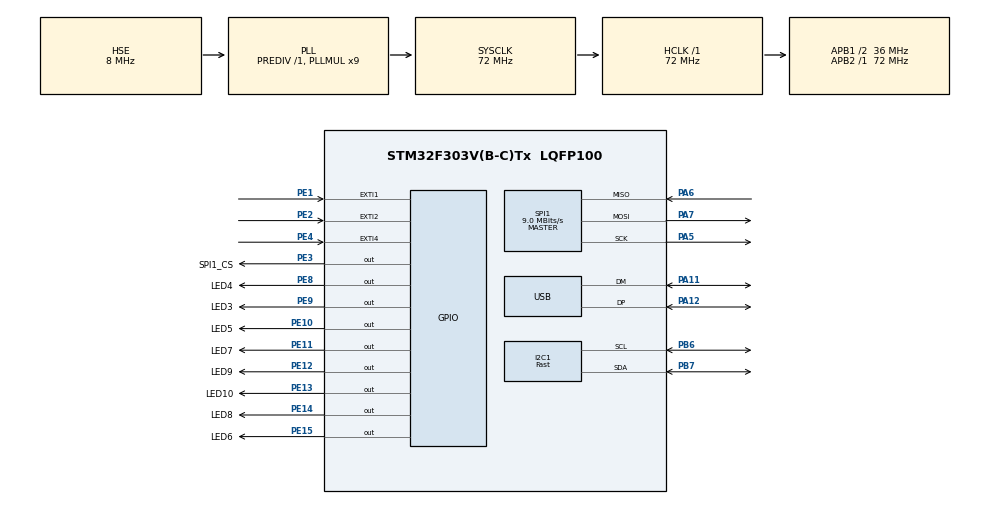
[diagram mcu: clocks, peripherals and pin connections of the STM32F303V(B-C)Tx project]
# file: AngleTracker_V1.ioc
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I2C1.I2C_Speed_Mode=I2C_Fast
I2C1.Timing=0x0000020B
Mcu.Family=STM32F3
Mcu.Name=STM32F303V(B-C)Tx
Mcu.Package=LQFP100
NVIC.EXTI1_IRQn=true\:0\:0\:false\:true\:true\:3\:true\:true
NVIC.EXTI2_TSC_IRQn=true\:0\:0\:false\:true\:true\:2\:true\:true
NVIC.EXTI4_IRQn=true\:0\:0\:false\:true\:true\:1\:true\:true
NVIC.PriorityGroup=NVIC_PRIORITYGROUP_4
NVIC.USB_LP_CAN_RX0_IRQn=true\:0\:0\:false\:false\:true\:false\:true
PA11.Mode=Device
PA11.Signal=USB_DM
PA12.Mode=Device
PA12.Signal=USB_DP
PA5.Mode=Full_Duplex_Master
PA5.Signal=SPI1_SCK
PA6.Mode=Full_Duplex_Master
PA6.Signal=SPI1_MISO
PA7.Mode=Full_Duplex_Master
PA7.Signal=SPI1_MOSI
PB6.Mode=I2C
PB6.Signal=I2C1_SCL
PB7.Mode=I2C
PB7.Signal=I2C1_SDA
PE1.Signal=GPXTI1
PE10.GPIO_Label=LED5
PE10.Signal=GPIO_Output
PE11.GPIO_Label=LED7
PE11.Signal=GPIO_Output
PE12.GPIO_Label=LED9
PE12.Signal=GPIO_Output
PE13.GPIO_Label=LED10
PE13.Signal=GPIO_Output
PE14.GPIO_Label=LED8
PE14.Signal=GPIO_Output
PE15.GPIO_Label=LED6
PE15.Signal=GPIO_Output
PE2.GPIO_PuPd=GPIO_PULLDOWN
PE2.Signal=GPXTI2
PE3.GPIO_Label=SPI1_CS
PE3.Signal=GPIO_Output
PE4.GPIO_PuPd=GPIO_PULLDOWN
PE4.Signal=GPXTI4
PE8.GPIO_Label=LED4
PE8.Signal=GPIO_Output
PE9.GPIO_Label=LED3
PE9.Signal=GPIO_Output
PF0-OSC_IN.Mode=HSE-External-Oscillator
PF0-OSC_IN.Signal=RCC_OSC_IN
PF1-OSC_OUT.Mode=HSE-External-Oscillator
PF1-OSC_OUT.Signal=RCC_OSC_OUT
ProjectManager.HeapSize=0x2000
ProjectManager.StackSize=0x4000
ProjectManager.TargetToolchain=STM32CubeIDE
RCC.AHBFreq_Value=72000000
RCC.APB1CLKDivider=RCC_HCLK_DIV2
RCC.APB1Freq_Value=36000000
RCC.APB1TimFreq_Value=72000000
RCC.APB2Freq_Value=72000000
RCC.APB2TimFreq_Value=72000000
RCC.CortexFreq_Value=72000000
RCC.HCLKFreq_Value=72000000
RCC.HSE_VALUE=8000000
RCC.HSI_VALUE=8000000
RCC.LSE_VALUE=32768
RCC.PLLMUL=RCC_PLL_MUL9
RCC.PRESCALERUSB=RCC_USBCLKSOURCE_PLL_DIV1_5
RCC.SYSCLKFreq_VALUE=72000000
RCC.SYSCLKSourceVirtual=RCC_SYSCLKSOURCE_PLLCLK
RCC.USBFreq_Value=48000000
SPI1.BaudRatePrescaler=SPI_BAUDRATEPRESCALER_8
SPI1.CalculateBaudRate=9.0 MBits/s
SPI1.DataSize=SPI_DATASIZE_8BIT
SPI1.Direction=SPI_DIRECTION_2LINES
SPI1.FirstBit=SPI_FIRSTBIT_LSB
SPI1.Mode=SPI_MODE_MASTER
SPI1.VirtualType=VM_MASTER
USB_DEVICE.CLASS_NAME_FS=CDC
USB_DEVICE.VirtualMode=Cdc
USB_DEVICE.VirtualModeFS=Cdc_FS
VP_USB_DEVICE_VS_USB_DEVICE_CDC_FS.Mode=CDC_FS
board=custom

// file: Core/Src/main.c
/* USER CODE BEGIN Header */
/**
  ******************************************************************************
  * @file           : main.c
  * @brief          : Main program body
  ******************************************************************************
  * @attention
  *
  * <h2><center>&copy; Copyright (c) 2020 STMicroelectronics.
  * All rights reserved.</center></h2>
  *
  * This software component is licensed by ST under BSD 3-Clause license,
  * the "License"; You may not use this file except in compliance with the
  * License. You may obtain a copy of the License at:
  *                        opensource.org/licenses/BSD-3-Clause
  *
  ******************************************************************************
  */
/* USER CODE END Header */
#include "main.h"
#include "i2c.h"
#include "spi.h"
#include "usb_device.h"
#include "gpio.h"

/* USER CODE BEGIN Includes */
#include "usbd_cdc_if.h"
#include "mems.h"
#include "stm32f3_discovery_gyroscope.h"
#include "math.h"
/* USER CODE END Includes */

/* USER CODE BEGIN PTD */
typedef enum state_t {ACCEL_DRDY_S, MAGNET_DRDY_S, GYRO_DRDY_S,
					  TRANSMIT_READY_S, IDLE_S, ERROR_S} state_t;
typedef enum sensor_t {ACCEL=0,
					   MAGN=1,
					   GYRO=2} sensor_t;

/* USER CODE END PTD */

/* USER CODE BEGIN PD */
#define MAX_STR_OUT 200
/* USER CODE END PD */

/* USER CODE BEGIN PV */
HAL_StatusTypeDef status;
uint8_t res[6], accel_flag = 0, magn_flag = 0, gyro_flag = 0,
		acc_transmit = 0, magn_transmit = 0, gyro_transmit = 0;
uint16_t Lens[3] = {0}, MaxLens[3] = {0};
char str1[MAX_STR_OUT]={0};
int16_t AccelData[3] = {0}, MagData[3] = {0}, MaxAccelData[3] = {0}, MaxMagData[3] = {0};
float GyroData[3] = {0.0f}, MaxGyroData = {0.0f};

//state_t state = IDLE_S;
/* USER CODE END PV */

void SystemClock_Config(void);
static void MX_NVIC_Init(void);
/* USER CODE BEGIN PFP */
void error(void);
void success(void);
static uint8_t I2C_Read(uint16_t Addr, uint8_t Reg);
static void I2C_Write(uint16_t Addr, uint8_t Reg, uint8_t Value);
uint8_t I2C_ReadID(uint16_t Addr);
void Accel_Ini(void);
void Accel_GetXYZ(int16_t* pData);
void Mag_Ini(void);
void Mag_GetXYZ(int16_t* pData);
/* USER CODE END PFP */

/* USER CODE BEGIN 0 */

//LED Indication

void error(void) {
	HAL_GPIO_WritePin(LED6_GPIO_Port, LED6_Pin, GPIO_PIN_RESET);
	HAL_GPIO_WritePin(LED3_GPIO_Port, LED3_Pin, GPIO_PIN_SET);
}

void success(void) {
	HAL_GPIO_WritePin(LED3_GPIO_Port, LED3_Pin, GPIO_PIN_RESET);
	HAL_GPIO_WritePin(LED6_GPIO_Port, LED6_Pin, GPIO_PIN_SET);
}

//I2C Operations

static uint8_t I2C_Read(uint16_t Addr, uint8_t Reg) {
	HAL_StatusTypeDef status = HAL_OK;
	uint8_t value = 0;
	status = HAL_I2C_Mem_Read(&hi2c1, Addr, Reg, I2C_MEMADD_SIZE_8BIT, &value, 1, 0x10000);
	if(status != HAL_OK) error();
	else success();
	return value;
}

static void I2C_Write(uint16_t Addr, uint8_t Reg, uint8_t Value) {
	HAL_StatusTypeDef status = HAL_OK;
	status = HAL_I2C_Mem_Write(&hi2c1, Addr, (uint16_t)Reg, I2C_MEMADD_SIZE_8BIT, &Value, 1, 0x10000);
	if(status != HAL_OK) error();
	else success();
}

uint8_t I2C_ReadID(uint16_t Addr) {
	uint8_t ctrl = 0x00;
	ctrl = I2C_Read(Addr,0x0F);
	return ctrl;
}

//Accelerometer Operations

void Accel_Ini(void) {
	uint8_t ctrl;
	if (I2C_ReadID(0x33)==0x33)	{
		ctrl=0b10010111;
		I2C_Write(0x32,0x20,ctrl);
		ctrl=0b00010000;
		I2C_Write(0x32,0x22,ctrl);
		ctrl=0b00001000;
		I2C_Write(0x32,0x23,ctrl);
		ctrl=0b00000000;
		I2C_Write(0x32,0x25,ctrl);
	}
	HAL_Delay(500);
}

void Accel_GetXYZ(int16_t* pData) {
	HAL_StatusTypeDef status = HAL_OK;
	uint8_t buffer[6];
	uint8_t i=0;

	status = HAL_I2C_Mem_Read(&hi2c1, 0x32, 0x28|0x80, I2C_MEMADD_SIZE_8BIT, buffer, 6, 0x10000);
 	if(status != HAL_OK) error();
	else success();

	for(i=0;i<3;i++) {
		pData[i]=((int16_t)((uint16_t)buffer[2*i+1]<<8)+buffer[2*i]) / 16;
	}
}

//Magnetometer Operations

void Mag_Ini(void) {
	uint8_t ctrl;
	if (I2C_ReadID(0x3C)==0x3C)	{
		ctrl=0b00011100;
		I2C_Write(0x3C,0x00,ctrl);
		ctrl=0b11100000;
		I2C_Write(0x3C,0x01,ctrl);
		ctrl=0b00000000;
		I2C_Write(0x3C,0x02,ctrl);
	}
	HAL_Delay(500);
}

void Mag_GetXYZ(int16_t* pData) {
	uint8_t buffer[6];

	HAL_StatusTypeDef status = HAL_OK;
	status = HAL_I2C_Mem_Read(&hi2c1, 0x3C, 0x03|0x80, I2C_MEMADD_SIZE_8BIT, buffer, 6, 0x10000);
 	if(status != HAL_OK) error();
	else success();
	pData[0]=((int16_t)((uint16_t)buffer[0]<<8)+buffer[1]);
	pData[1]=((int16_t)((uint16_t)buffer[4]<<8)+buffer[5]);
	pData[2]=((int16_t)((uint16_t)buffer[2]<<8)+buffer[3]);
}

// Math

void GetAndCompareLen(sensor_t Type) {
	switch (Type) {
	case ACCEL: {

	}
	case MAGN: {

	}
	case GYRO: {

	}
	default:
		error();
		return NULL;
	}
}

/* USER CODE END 0 */

int main(void)
{

  /* MCU Configuration--------------------------------------------------------*/

  /* Reset of all peripherals, Initializes the Flash interface and the Systick. */
  HAL_Init();

  /* Configure the system clock */
  SystemClock_Config();

  /* Initialize all configured peripherals */
  MX_GPIO_Init();
  MX_USB_DEVICE_Init();
  MX_I2C1_Init();
  MX_SPI1_Init();

  /* Initialize interrupts */
  MX_NVIC_Init();
  /* USER CODE BEGIN 2 */
  HAL_NVIC_DisableIRQ(EXTI4_IRQn);
  Accel_Ini();
  Mag_Ini();
  BSP_GYRO_Init();
  /* USER CODE END 2 */

  /* Infinite loop */
  /* USER CODE BEGIN WHILE */
  Accel_GetXYZ(AccelData);
  HAL_NVIC_EnableIRQ(EXTI4_IRQn);
  BSP_GYRO_EnableIT(L3GD20_INT2);
  while (1) {
	  if (accel_flag) {
		  HAL_NVIC_DisableIRQ(EXTI4_IRQn);
		  HAL_GPIO_WritePin(LED5_GPIO_Port, LED5_Pin, GPIO_PIN_SET);
		  Accel_GetXYZ(AccelData);
		  HAL_Delay(10);
		  accel_flag = 0;
		  acc_transmit = 1;
		  HAL_NVIC_EnableIRQ(EXTI4_IRQn);
	  }
	  if (magn_flag) {
		  HAL_NVIC_DisableIRQ(EXTI2_TSC_IRQn);
		  HAL_GPIO_WritePin(LED4_GPIO_Port, LED4_Pin, GPIO_PIN_SET);
		  Mag_GetXYZ(MagData);
		  magn_flag = 0;
		  magn_transmit = 1;
		  HAL_NVIC_EnableIRQ(EXTI2_TSC_IRQn);
	  }
	  if (gyro_flag) {
		  BSP_GYRO_DisableIT(L3GD20_INT2);
		  BSP_GYRO_GetXYZ(GyroData);
		  gyro_flag = 0;
		  gyro_transmit = 1;
		  BSP_GYRO_EnableIT(L3GD20_INT2);
	  }
	  if (magn_transmit && acc_transmit && gyro_transmit) {
		  HAL_NVIC_DisableIRQ(EXTI4_IRQn);
		  HAL_NVIC_DisableIRQ(EXTI2_TSC_IRQn);
		  BSP_GYRO_DisableIT(L3GD20_INT2);
		  sprintf(str1, "%d;%5d;%5d;%5d;%4d;%4d;%4d;%8d;%8d;%8d\n", HAL_GetTick(), AccelData[0], AccelData[1], AccelData[2],
				  MagData[0], MagData[1], MagData[2], (int)GyroData[0], (int)GyroData[1], (int)GyroData[2]);
		  CDC_Transmit_FS((uint8_t*)str1, strlen(str1));
		  acc_transmit = magn_transmit = gyro_transmit = 0;
		  BSP_GYRO_EnableIT(L3GD20_INT2);
		  HAL_NVIC_EnableIRQ(EXTI2_TSC_IRQn);
		  HAL_NVIC_EnableIRQ(EXTI4_IRQn);
	  }
    /* USER CODE END WHILE */

  }
}

void SystemClock_Config(void)
{
  RCC_OscInitTypeDef RCC_OscInitStruct = {0};
  RCC_ClkInitTypeDef RCC_ClkInitStruct = {0};
  RCC_PeriphCLKInitTypeDef PeriphClkInit = {0};

  /** Initializes the RCC Oscillators according to the specified parameters
  * in the RCC_OscInitTypeDef structure.
  */
  RCC_OscInitStruct.OscillatorType = RCC_OSCILLATORTYPE_HSI|RCC_OSCILLATORTYPE_HSE;
  RCC_OscInitStruct.HSEState = RCC_HSE_ON;
  RCC_OscInitStruct.HSEPredivValue = RCC_HSE_PREDIV_DIV1;
  RCC_OscInitStruct.HSIState = RCC_HSI_ON;
  RCC_OscInitStruct.HSICalibrationValue = RCC_HSICALIBRATION_DEFAULT;
  RCC_OscInitStruct.PLL.PLLState = RCC_PLL_ON;
  RCC_OscInitStruct.PLL.PLLSource = RCC_PLLSOURCE_HSE;
  RCC_OscInitStruct.PLL.PLLMUL = RCC_PLL_MUL9;
  if (HAL_RCC_OscConfig(&RCC_OscInitStruct) != HAL_OK)
  {
    Error_Handler();
  }
  /** Initializes the CPU, AHB and APB buses clocks
  */
  RCC_ClkInitStruct.ClockType = RCC_CLOCKTYPE_HCLK|RCC_CLOCKTYPE_SYSCLK
                              |RCC_CLOCKTYPE_PCLK1|RCC_CLOCKTYPE_PCLK2;
  RCC_ClkInitStruct.SYSCLKSource = RCC_SYSCLKSOURCE_PLLCLK;
  RCC_ClkInitStruct.AHBCLKDivider = RCC_SYSCLK_DIV1;
  RCC_ClkInitStruct.APB1CLKDivider = RCC_HCLK_DIV2;
  RCC_ClkInitStruct.APB2CLKDivider = RCC_HCLK_DIV1;

  if (HAL_RCC_ClockConfig(&RCC_ClkInitStruct, FLASH_LATENCY_2) != HAL_OK)
  {
    Error_Handler();
  }
  PeriphClkInit.PeriphClockSelection = RCC_PERIPHCLK_USB|RCC_PERIPHCLK_I2C1;
  PeriphClkInit.I2c1ClockSelection = RCC_I2C1CLKSOURCE_HSI;
  PeriphClkInit.USBClockSelection = RCC_USBCLKSOURCE_PLL_DIV1_5;
  if (HAL_RCCEx_PeriphCLKConfig(&PeriphClkInit) != HAL_OK)
  {
    Error_Handler();
  }
}

/**
  * @brief NVIC Configuration.
  * @retval None
  */
static void MX_NVIC_Init(void)
{
  /* EXTI4_IRQn interrupt configuration */
  HAL_NVIC_SetPriority(EXTI4_IRQn, 0, 0);
  HAL_NVIC_EnableIRQ(EXTI4_IRQn);
  /* EXTI2_TSC_IRQn interrupt configuration */
  HAL_NVIC_SetPriority(EXTI2_TSC_IRQn, 0, 0);
  HAL_NVIC_EnableIRQ(EXTI2_TSC_IRQn);
  /* EXTI1_IRQn interrupt configuration */
  HAL_NVIC_SetPriority(EXTI1_IRQn, 0, 0);
  HAL_NVIC_EnableIRQ(EXTI1_IRQn);
}

/* USER CODE BEGIN 4 */
void HAL_GPIO_EXTI_Callback(uint16_t GPIO_Pin) {
	switch (GPIO_Pin) {
	case GPIO_PIN_2: {
		magn_flag = 1;
	}
	case GPIO_PIN_4: {
		accel_flag = 1;
	}
	case GPIO_PIN_1: {
		gyro_flag = 1;
	}
	default:
		;
	}
}

/* USER CODE END 4 */

void Error_Handler(void)
{
}

/************************ (C) COPYRIGHT STMicroelectronics *****END OF FILE****/
